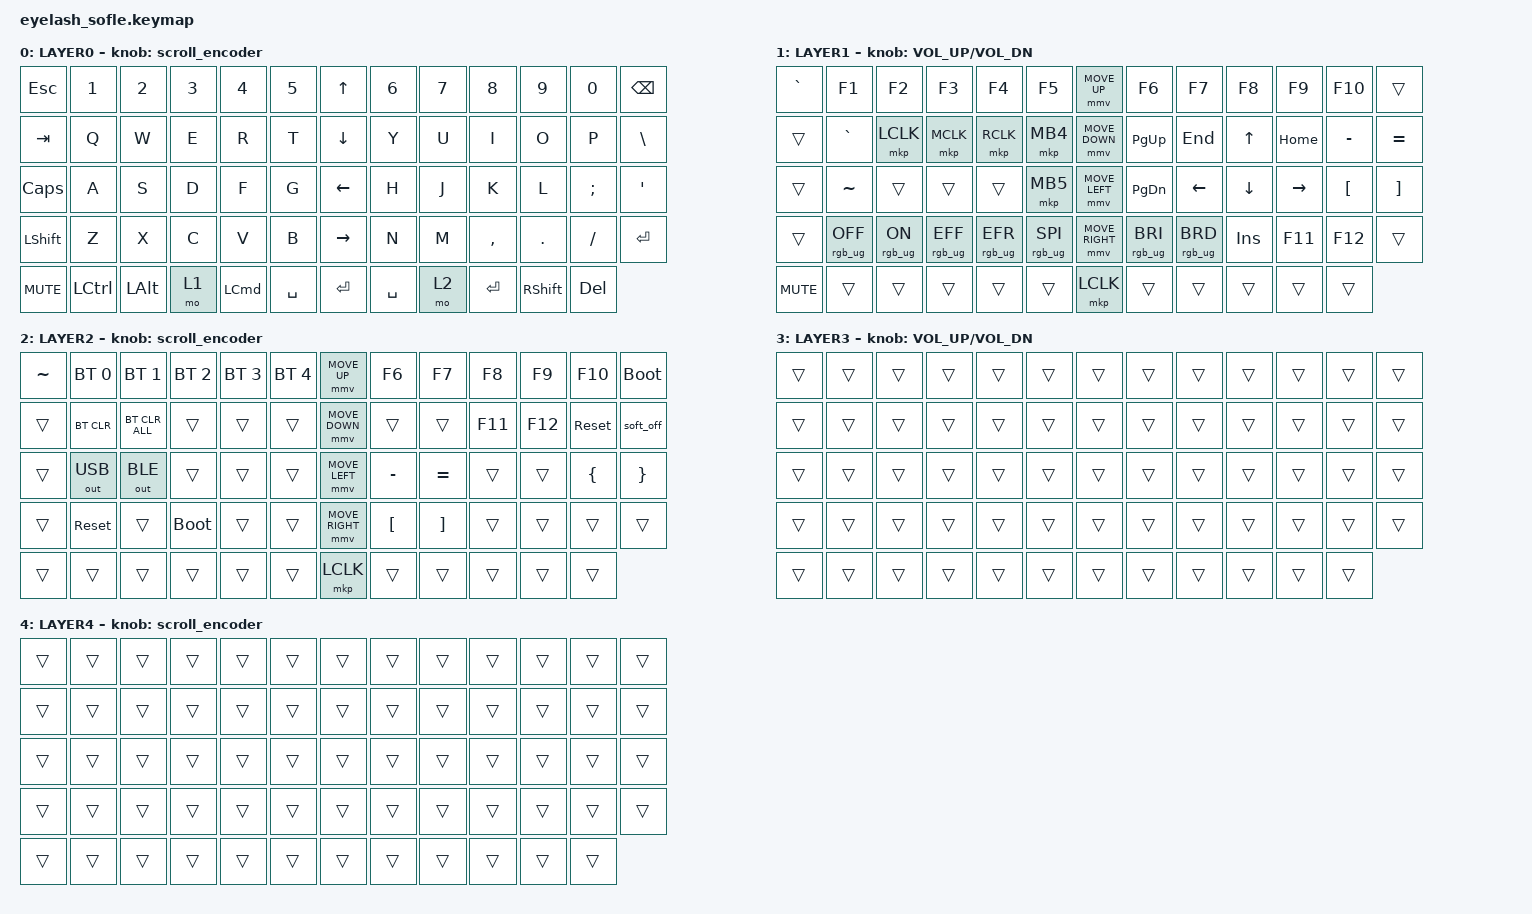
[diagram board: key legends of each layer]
#define ZMK_POINTING_DEFAULT_MOVE_VAL 1200  // 600
#define ZMK_POINTING_DEFAULT_SCRL_VAL 25   // 10

#include <input/processors.dtsi>
#include <zephyr/dt-bindings/input/input-event-codes.h>
#include <behaviors.dtsi>
#include <dt-bindings/zmk/bt.h>
#include <dt-bindings/zmk/keys.h>
#include <dt-bindings/zmk/outputs.h>
#include <dt-bindings/zmk/pointing.h>
#include <dt-bindings/zmk/rgb.h>

&mmv_input_listener { input-processors = <&zip_xy_scaler 2 1>; };

&msc_input_listener { input-processors = <&zip_scroll_scaler 2 1>; };

&msc {
    acceleration-exponent = <1>;      // 0
    time-to-max-speed-ms = <100>;       // 300
    delay-ms = <0>;                   // 0
};

&mmv {
    time-to-max-speed-ms = <500>;
    acceleration-exponent = <1>;
    trigger-period-ms = <16>;
};

&soft_off { hold-time-ms = <2000>; };

/ {
    scroll_encoder: scroll_encoder {
        compatible = "zmk,behavior-sensor-rotate";
        #sensor-binding-cells = <0>;
        bindings = <&msc SCRL_DOWN>, <&msc SCRL_UP>;

        tap-ms = <100>;
    };

    behaviors {
    };

    combos {
        compatible = "zmk,combos";

        leftshift {
            bindings = <&kp LEFT_SHIFT>;
            key-positions = <30 29>;
        };

        leftcontrol {
            bindings = <&kp LEFT_CONTROL>;
            key-positions = <30 28>;
        };

        leftalt {
            bindings = <&kp LEFT_ALT>;
            key-positions = <30 27>;
        };

        rightshift {
            bindings = <&kp RIGHT_SHIFT>;
            key-positions = <34 35>;
        };

        rightcontrol {
            bindings = <&kp RIGHT_CONTROL>;
            key-positions = <34 36>;
        };

        rigthalt {
            bindings = <&kp RIGHT_ALT>;
            key-positions = <34 37>;
        };
    };

    keymap {
        compatible = "zmk,keymap";

        layer0 {
            bindings = <
&kp ESCAPE  &kp N1     &kp N2        &kp N3  &kp N4            &kp N5       &kp UP_ARROW     &kp N6     &kp N7  &kp N8     &kp N9           &kp N0      &kp BACKSPACE
&kp TAB     &kp Q      &kp W         &kp E   &kp R             &kp T        &kp DOWN_ARROW   &kp Y      &kp U   &kp I      &kp O            &kp P       &kp BSLH
&kp CAPS    &kp A      &kp S         &kp D   &kp F             &kp G        &kp LEFT_ARROW   &kp H      &kp J   &kp K      &kp L            &kp SEMI    &kp APOS
&kp LSHFT   &kp Z      &kp X         &kp C   &kp V             &kp B        &kp RIGHT_ARROW  &kp N      &kp M   &kp COMMA  &kp DOT          &kp FSLH    &kp ENTER
&kp C_MUTE  &kp LCTRL  &kp LEFT_ALT  &mo 1   &kp LEFT_COMMAND  &kp SPACE    &kp ENTER        &kp SPACE  &mo 2   &kp RET    &kp RIGHT_SHIFT  &kp DELETE
            >;

            sensor-bindings = <&scroll_encoder>;
            display-name = "LAYER0";
        };

        layer_1 {
            bindings = <
&kp GRAVE   &kp F1           &kp F2          &kp F3           &kp F4           &kp F5             &mmv MOVE_UP     &kp F6           &kp F7           &kp F8      &kp F9     &kp F10           &trans
&trans      &kp GRAVE        &mkp LCLK       &mkp MCLK        &mkp RCLK        &mkp MB4           &mmv MOVE_DOWN   &kp PG_UP        &kp END          &kp UP      &kp HOME   &kp MINUS         &kp EQUAL
&trans      &kp TILDE        &trans          &trans           &trans           &mkp MB5           &mmv MOVE_LEFT   &kp PG_DN        &kp LEFT         &kp DOWN    &kp RIGHT  &kp LEFT_BRACKET  &kp RIGHT_BRACKET
&trans      &rgb_ug RGB_OFF  &rgb_ug RGB_ON  &rgb_ug RGB_EFF  &rgb_ug RGB_EFR  &rgb_ug RGB_SPI    &mmv MOVE_RIGHT  &rgb_ug RGB_BRI  &rgb_ug RGB_BRD  &kp INSERT  &kp F11    &kp F12           &trans
&kp C_MUTE  &trans           &trans          &trans           &trans           &trans             &mkp LCLK        &trans           &trans           &trans      &trans     &trans
            >;

             sensor-bindings = <&inc_dec_kp C_VOLUME_UP C_VOL_DN>;
            display-name = "LAYER1";
        };

        layer_2 {
            bindings = <
&kp TILDE  &bt BT_SEL 0  &bt BT_SEL 1    &bt BT_SEL 2  &bt BT_SEL 3  &bt BT_SEL 4    &mmv MOVE_UP     &kp F6            &kp F7             &kp F8   &kp F9   &kp F10     &bootloader
&trans     &bt BT_CLR    &bt BT_CLR_ALL  &trans        &trans        &trans          &mmv MOVE_DOWN   &trans            &trans             &kp F11  &kp F12  &sys_reset  &soft_off
&trans     &out OUT_USB  &out OUT_BLE    &trans        &trans        &trans          &mmv MOVE_LEFT   &kp MINUS         &kp EQUAL          &trans   &trans   &kp LBRC    &kp RBRC
&trans     &sys_reset    &trans          &bootloader   &trans        &trans          &mmv MOVE_RIGHT  &kp LEFT_BRACKET  &kp RIGHT_BRACKET  &trans   &trans   &trans      &trans
&trans     &trans        &trans          &trans        &trans        &trans          &mkp LCLK        &trans            &trans             &trans   &trans   &trans
            >;

            display-name = "LAYER2";
            sensor-bindings = <&scroll_encoder>;
        };

        layer_3 {
            bindings = <
&trans  &trans  &trans  &trans  &trans  &trans    &trans  &trans  &trans  &trans  &trans  &trans  &trans
&trans  &trans  &trans  &trans  &trans  &trans    &trans  &trans  &trans  &trans  &trans  &trans  &trans
&trans  &trans  &trans  &trans  &trans  &trans    &trans  &trans  &trans  &trans  &trans  &trans  &trans
&trans  &trans  &trans  &trans  &trans  &trans    &trans  &trans  &trans  &trans  &trans  &trans  &trans
&trans  &trans  &trans  &trans  &trans  &trans    &trans  &trans  &trans  &trans  &trans  &trans
            >;

            display-name = "LAYER3";
            sensor-bindings = <&inc_dec_kp C_VOLUME_UP C_VOL_DN>;
        };

        layer_4 {
            bindings = <
&trans  &trans  &trans  &trans  &trans  &trans    &trans  &trans  &trans  &trans  &trans  &trans  &trans
&trans  &trans  &trans  &trans  &trans  &trans    &trans  &trans  &trans  &trans  &trans  &trans  &trans
&trans  &trans  &trans  &trans  &trans  &trans    &trans  &trans  &trans  &trans  &trans  &trans  &trans
&trans  &trans  &trans  &trans  &trans  &trans    &trans  &trans  &trans  &trans  &trans  &trans  &trans
&trans  &trans  &trans  &trans  &trans  &trans    &trans  &trans  &trans  &trans  &trans  &trans
            >;

            display-name = "LAYER4";
            sensor-bindings = <&scroll_encoder>;
        };
    };
};
